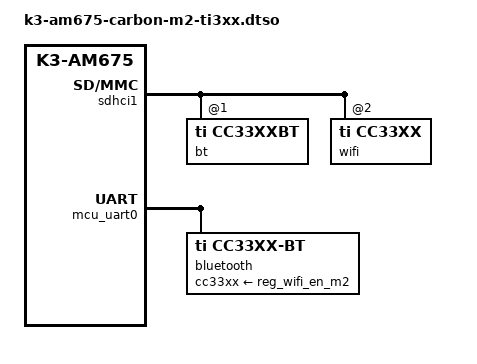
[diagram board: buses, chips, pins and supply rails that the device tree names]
// SPDX-License-Identifier: GPL-2.0
/*
 * M.2 SDIO TI CC33xx module
 *
 * Copyright (C) 2025 Ezurio LLC
 */

/dts-v1/;
/plugin/;

#include "k3-am675-carbon-m2.dtsi"

&reg_wifi_en_m2 {
	startup-delay-us = <10000>;
};

&sdhci1 { /* SDIO_A uSD / M.2_SDIO */
	cap-power-off-card;

	#address-cells = <1>;
	#size-cells = <0>;

	bt@1 {
		reg = <1>;
		compatible = "ti,cc33xxbt";
	};

	wifi@2 {
		reg = <2>;
		compatible = "ti,cc33xx";
	};
};

&mcu_uart0 {
	bluetooth {
		compatible = "ti,cc33xx-bt";
		cc33xx-supply = <&reg_wifi_en_m2>;
		max-speed = <115200>;
	};
};

&wifi_wakeup_m2 {
	status = "disabled";
};

&exp2 {
	/delete-property/ wakeup-source;
};
